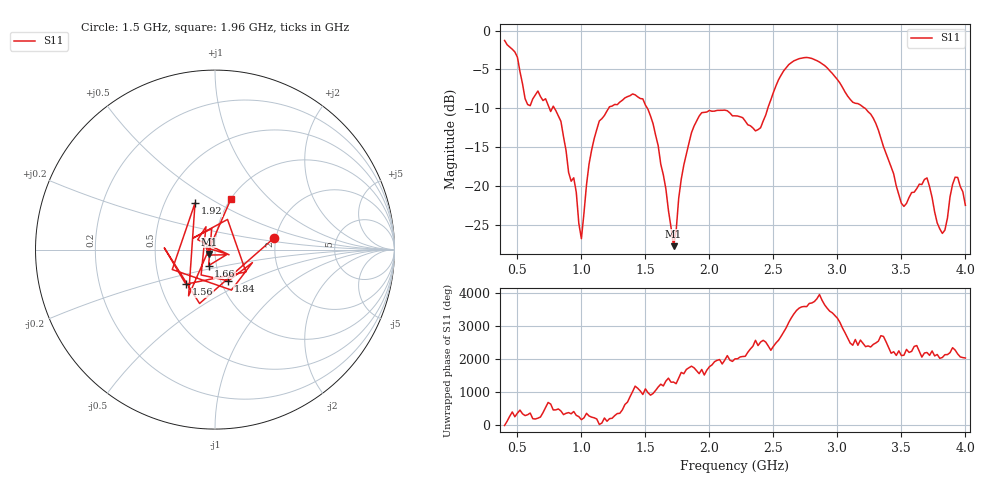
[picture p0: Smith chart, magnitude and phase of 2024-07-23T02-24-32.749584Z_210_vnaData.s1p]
!Created with skrf (http://scikit-rf.org).
# Hz S RI R 50.0
!freq ReS11 ImS11
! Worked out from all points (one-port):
!   181 points, 400 MHz to 4 GHz, reference 50 ohm
!   lowest |S11| = -27.7 dB at 1.72 GHz (marker M1), VSWR 1.09, Z = 46.8 - j2.35 ohm
!   |S11| at or under -10 dB: 790.2 MHz to 1.212 GHz (421.6 MHz wide, 42.1 % of centre); 1.516 GHz to 2.456 GHz (939.9 MHz wide, 47.3 % of centre); 3.217 GHz to end of sweep (the widest 3 of 4)
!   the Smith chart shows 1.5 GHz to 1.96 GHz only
!   S11 on the Smith chart (normalised r, x): 1.5 GHz: 1.94, +0.27; 1.56 GHz: 0.67, -0.28; 1.66 GHz: 0.92, -0.17; 1.84 GHz: 1.09, -0.39; 1.92 GHz: 0.71, +0.40; 1.96 GHz: 1.00, +0.63
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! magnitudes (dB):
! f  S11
! 400 MHz  -1.3
! 500 MHz  -3.4
! 580 MHz  -9.5
! 660 MHz  -7.8
! 860 MHz  -13.6
! 960 MHz  -20.8
! 1 GHz  -26.7
! 1.1 GHz  -13.9
! 1.3 GHz  -9.2
! 1.5 GHz  -9.6
! 1.56 GHz  -12.0
! 1.66 GHz  -20.3
! 1.72 GHz  -27.7
! 1.76 GHz  -21.6
! 1.84 GHz  -14.5
! 1.92 GHz  -11.0
! 1.96 GHz  -10.5
! 2.2 GHz  -11.0
! 2.4 GHz  -12.5
! 2.66 GHz  -3.9
! 3.1 GHz  -8.8
! 3.28 GHz  -11.2
! 3.5 GHz  -22.2
! 3.56 GHz  -21.4
! 3.7 GHz  -18.9
! 3.82 GHz  -26.1
! 3.92 GHz  -18.8
! 4 GHz  -22.4
